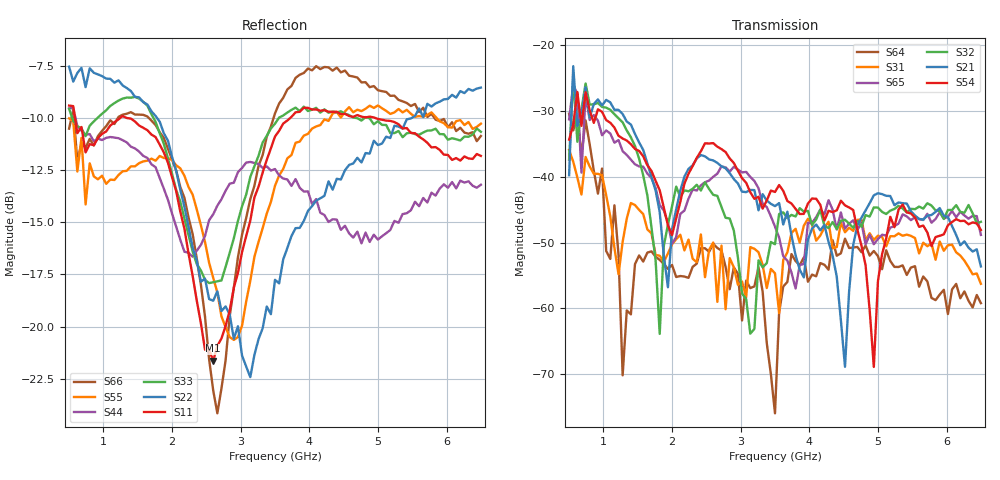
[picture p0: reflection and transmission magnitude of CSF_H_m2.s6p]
!Keysight Technologies,M9804A,MY58100912,A.14.10.03
!Date: Thursday, April 27, 2023 10:28:33
!Correction: S11(C  6-Port  )
!S12(C  6-Port  )
!S13(C  6-Port  )
!S14(C  6-Port  )
!S15(C  6-Port  )
!S16(C  6-Port  )
!S21(C  6-Port  )
!S22(C  6-Port  )
!S23(C  6-Port  )
!S24(C  6-Port  )
!S25(C  6-Port  )
!S26(C  6-Port  )
!S31(C  6-Port  )
!S32(C  6-Port  )
!S33(C  6-Port  )
!S34(C  6-Port  )
!S35(C  6-Port  )
!S36(C  6-Port  )
!S41(C  6-Port  )
!S42(C  6-Port  )
!S43(C  6-Port  )
!S44(C  6-Port  )
!S45(C  6-Port  )
!S46(C  6-Port  )
!S51(C  6-Port  )
!S52(C  6-Port  )
!S53(C  6-Port  )
!S54(C  6-Port  )
!S55(C  6-Port  )
!S56(C  6-Port  )
!S61(C  6-Port  )
!S62(C  6-Port  )
!S63(C  6-Port  )
!S64(C  6-Port  )
!S65(C  6-Port  )
!S66(C  6-Port  )
!S6P File: Measurement: :
# Hz S  RI  R 50
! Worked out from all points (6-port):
!   101 points, 500 MHz to 6.5 GHz, reference 50 ohm
!   strongest paths, dB at 500 MHz, 2 GHz, 3.5 GHz, 5 GHz, 6.5 GHz:
!     S54: -34.4, -48.9, -42.3, -55.9, -48.1
!     S21: -39.8, -48.0, -44.5, -42.5, -53.6
!     S32: -37.4, -44.5, -50.3, -44.7, -46.9
!     S65: -31.3, -50.2, -47.6, -49.5, -48.8
!     S31: -36.0, -50.3, -54.7, -49.0, -56.3
!     S64: -30.5, -53.4, -75.9, -52.1, -59.2
!   lowest |S11| = -21.6 dB at 2.6 GHz (marker M1), VSWR 1.18, Z = 42.6 + j2.05 ohm
!   |S11| at or under -10 dB: 587 MHz to 1.239 GHz (652 MHz wide, 71.4 % of centre); 1.368 GHz to 3.717 GHz (2.349 GHz wide, 92.4 % of centre); 4.974 GHz to end of sweep
